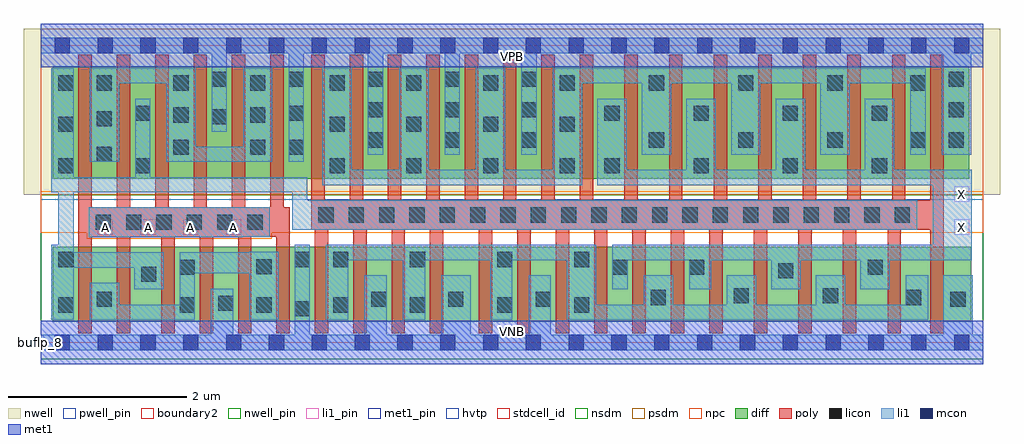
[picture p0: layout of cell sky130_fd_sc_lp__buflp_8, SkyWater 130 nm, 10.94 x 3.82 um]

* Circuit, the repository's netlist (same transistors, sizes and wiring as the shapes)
* Copyright 2020 The SkyWater PDK Authors
*
* Licensed under the Apache License, Version 2.0 (the "License");
* you may not use this file except in compliance with the License.
* You may obtain a copy of the License at
*
*     https://www.apache.org/licenses/LICENSE-2.0
*
* Unless required by applicable law or agreed to in writing, software
* distributed under the License is distributed on an "AS IS" BASIS,
* WITHOUT WARRANTIES OR CONDITIONS OF ANY KIND, either express or implied.
* See the License for the specific language governing permissions and
* limitations under the License.
*
* SPDX-License-Identifier: Apache-2.0

.SUBCKT sky130_fd_sc_lp__buflp_8 A VGND VNB VPB VPWR X
*.PININFO A:I VGND:I VNB:I VPB:I VPWR:I X:O
MMIN1 Ab A net27 VNB sky130_fd_pr__nfet_01v8 m=3 w=0.84U l=0.15U mult=1 sa=0.265
+ sb=0.265 sd=0.28 area=0.063 perim=1.14
MMIN2 X Ab net31 VNB sky130_fd_pr__nfet_01v8 m=8 w=0.84U l=0.15U mult=1 sa=0.265
+ sb=0.265 sd=0.28 area=0.063 perim=1.14
MI7 net27 A VGND VNB sky130_fd_pr__nfet_01v8 m=3 w=0.84U l=0.15U mult=1 sa=0.265
+ sb=0.265 sd=0.28 area=0.063 perim=1.14
MI6 net31 Ab VGND VNB sky130_fd_pr__nfet_01v8 m=8 w=0.84U l=0.15U mult=1 sa=0.265
+ sb=0.265 sd=0.28 area=0.063 perim=1.14
MMIP1 Ab A net43 VPB sky130_fd_pr__pfet_01v8_hvt m=3 w=1.26U l=0.15U mult=1 sa=0.265
+ sb=0.265 sd=0.28 area=0.063 perim=1.14
MMIP2 X Ab net47 VPB sky130_fd_pr__pfet_01v8_hvt m=8 w=1.26U l=0.15U mult=1 sa=0.265
+ sb=0.265 sd=0.28 area=0.063 perim=1.14
MI4 net43 A VPWR VPB sky130_fd_pr__pfet_01v8_hvt m=3 w=1.26U l=0.15U mult=1 sa=0.265
+ sb=0.265 sd=0.28 area=0.063 perim=1.14
MI5 net47 Ab VPWR VPB sky130_fd_pr__pfet_01v8_hvt m=8 w=1.26U l=0.15U mult=1 sa=0.265
+ sb=0.265 sd=0.28 area=0.063 perim=1.14
.ENDS sky130_fd_sc_lp__buflp_8

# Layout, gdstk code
import gdstk
lib = gdstk.Library(unit=1e-6, precision=1e-09)
def R(c, l, rs):  # rectangles x0, y0, x1, y1
    for r in rs: c.add(gdstk.rectangle(r[:2], r[2:], *l))
def A(c, l, x, y, w, h, nx, ny, dx, dy):  # array of equal rectangles
    R(c, l, [(x+i*dx, y+j*dy, x+i*dx+w, y+j*dy+h) for i in range(nx) for j in range(ny)])
def P(c, l, *ps):  # polygons
    for p in ps: c.add(gdstk.Polygon(p, *l))
nwell_pin = (64, 16)
nwell = (64, 20)
diff = (65, 20)
poly = (66, 20)
licon = (66, 44)
li1_pin = (67, 16)
li1 = (67, 20)
mcon = (67, 44)
met1_pin = (68, 16)
met1 = (68, 20)
hvtp = (78, 44)
stdcell_id = (81, 4)
nsdm = (93, 44)
psdm = (94, 20)
npc = (95, 20)
pwell_pin = (122, 16)
boundary2 = (236, 0)

sky130_fd_sc_lp__buflp_8 = lib.new_cell('sky130_fd_sc_lp__buflp_8')
R(sky130_fd_sc_lp__buflp_8, nwell_pin, [(0,3.085,10.56,3.33)])
R(sky130_fd_sc_lp__buflp_8, nwell, [(-0.19,1.655,10.75,3.52)])
R(sky130_fd_sc_lp__buflp_8, diff, [(0.135,0.235,10.425,1.075), (0.135,1.835,10.405,3.095)])
P(sky130_fd_sc_lp__buflp_8, poly, [(2.79,1.515),(2.72,1.515),(2.72,3.225),(2.57,3.225),(2.57,1.515),(2.29,1.515),(2.29,3.225),(2.14,3.225),(2.14,1.515),(1.86,1.515),(1.86,3.225),(1.71,3.225),(1.71,1.515),(1.43,1.515),(1.43,3.225),(1.28,3.225),(1.28,1.515),(1,1.515),(1,3.225),(0.85,3.225),(0.85,1.515),(0.57,1.515),(0.57,3.225),(0.42,3.225),(0.42,0.105),(0.57,0.105),(0.57,1.185),(0.85,1.185),(0.85,0.105),(1,0.105),(1,1.185),(1.35,1.185),(1.35,0.105),(1.5,0.105),(1.5,1.185),(1.78,1.185),(1.78,0.105),(1.93,0.105),(1.93,1.185),(2.21,1.185),(2.21,0.105),(2.36,0.105),(2.36,1.185),(2.64,1.185),(2.64,0.105),(2.79,0.105)],
  [(10.12,3.225),(9.97,3.225),(9.97,1.595),(9.69,1.595),(9.69,3.225),(9.54,3.225),(9.54,1.595),(9.19,1.595),(9.19,3.225),(9.04,3.225),(9.04,1.595),(8.69,1.595),(8.69,3.225),(8.54,3.225),(8.54,1.595),(8.19,1.595),(8.19,3.225),(8.04,3.225),(8.04,1.595),(7.69,1.595),(7.69,3.225),(7.54,3.225),(7.54,1.595),(7.19,1.595),(7.19,3.225),(7.04,3.225),(7.04,1.595),(6.69,1.595),(6.69,3.225),(6.54,3.225),(6.54,1.595),(6.19,1.595),(6.19,3.225),(6.04,3.225),(6.04,1.595),(5.76,1.595),(5.76,3.225),(5.61,3.225),(5.61,1.595),(5.33,1.595),(5.33,3.225),(5.18,3.225),(5.18,1.595),(4.9,1.595),(4.9,3.225),(4.75,3.225),(4.75,1.595),(4.47,1.595),(4.47,3.225),(4.32,3.225),(4.32,1.595),(4.04,1.595),(4.04,3.225),(3.89,3.225),(3.89,1.595),(3.61,1.595),(3.61,3.225),(3.46,3.225),(3.46,1.595),(3.18,1.595),(3.18,3.225),(3.03,3.225),(3.03,1.265),(3.07,1.265),(3.07,0.105),(3.22,0.105),(3.22,1.265),(3.5,1.265),(3.5,0.105),(3.65,0.105),(3.65,1.265),(3.93,1.265),(3.93,0.105),(4.08,0.105),(4.08,1.265),(4.36,1.265),(4.36,0.105),(4.51,0.105),(4.51,1.265),(4.91,1.265),(4.91,0.105),(5.06,0.105),(5.06,1.265),(5.34,1.265),(5.34,0.105),(5.49,0.105),(5.49,1.265),(5.77,1.265),(5.77,0.105),(5.92,0.105),(5.92,1.265),(6.2,1.265),(6.2,0.105),(6.35,0.105),(6.35,1.265),(6.63,1.265),(6.63,0.105),(6.78,0.105),(6.78,1.265),(7.06,1.265),(7.06,0.105),(7.21,0.105),(7.21,1.265),(7.49,1.265),(7.49,0.105),(7.64,0.105),(7.64,1.265),(7.99,1.265),(7.99,0.105),(8.14,0.105),(8.14,1.265),(8.49,1.265),(8.49,0.105),(8.64,0.105),(8.64,1.265),(8.99,1.265),(8.99,0.105),(9.14,0.105),(9.14,1.265),(9.49,1.265),(9.49,0.105),(9.64,0.105),(9.64,1.265),(9.97,1.265),(9.97,0.105),(10.12,0.105)])
A(sky130_fd_sc_lp__buflp_8, licon, 1.555, 0.335, 0.17, 0.17, 4, 1, 0.86, 0)
A(sky130_fd_sc_lp__buflp_8, licon, 0.615, 1.265, 0.17, 0.17, 6, 1, 0.34, 0)
A(sky130_fd_sc_lp__buflp_8, licon, 3.11, 1.345, 0.17, 0.17, 20, 1, 0.34, 0)
A(sky130_fd_sc_lp__buflp_8, licon, 0.195, 1.895, 0.17, 0.17, 1, 3, 0, 0.465)
A(sky130_fd_sc_lp__buflp_8, licon, 3.235, 1.895, 0.17, 0.17, 4, 3, 0.86, 0.465)
A(sky130_fd_sc_lp__buflp_8, licon, 6.315, 1.895, 0.17, 0.17, 4, 2, 1, 0.59)
A(sky130_fd_sc_lp__buflp_8, licon, 2.775, 2.105, 0.17, 0.17, 1, 3, 0, 0.38)
A(sky130_fd_sc_lp__buflp_8, licon, 3.665, 2.185, 0.17, 0.17, 3, 3, 0.86, 0.34)
A(sky130_fd_sc_lp__buflp_8, licon, 6.815, 2.185, 0.17, 0.17, 3, 2, 1, 0.64)
A(sky130_fd_sc_lp__buflp_8, licon, 10.175, 2.185, 0.17, 0.17, 1, 3, 0, 0.34)
A(sky130_fd_sc_lp__buflp_8, licon, 0.625, 2.825, 0.17, 0.17, 3, 1, 0.86, 0)
R(sky130_fd_sc_lp__buflp_8, licon, [(2.845,0.295,3.015,0.465), (0.195,0.335,0.365,0.505), (5.115,0.335,5.285,0.505), (5.975,0.335,6.145,0.505), (1.985,0.355,2.155,0.525), (0.625,0.4,0.795,0.57), (3.705,0.4,3.875,0.57), (4.565,0.4,4.735,0.57), (5.545,0.4,5.715,0.57), (10.195,0.4,10.365,0.57), (6.835,0.42,7.005,0.59), (9.695,0.42,9.865,0.59), (7.765,0.44,7.935,0.61), (8.765,0.44,8.935,0.61), (1.125,0.68,1.295,0.85), (8.265,0.72,8.435,0.89), (1.555,0.76,1.725,0.93), (6.405,0.76,6.575,0.93), (7.265,0.76,7.435,0.93), (9.265,0.76,9.435,0.93), (2.415,0.765,2.585,0.935), (0.195,0.845,0.365,1.015), (2.845,0.845,3.015,1.015), (3.275,0.845,3.445,1.015), (4.135,0.845,4.305,1.015), (5.115,0.845,5.285,1.015), (5.975,0.845,6.145,1.015), (1.055,1.895,1.225,2.065), (0.625,2.025,0.795,2.195), (1.485,2.105,1.655,2.275), (2.345,2.105,2.515,2.275), (9.745,2.185,9.915,2.355), (0.625,2.425,0.795,2.595), (1.915,2.445,2.085,2.615), (1.485,2.465,1.655,2.635), (2.345,2.465,2.515,2.635), (1.055,2.485,1.225,2.655), (9.745,2.825,9.915,2.995), (1.915,2.865,2.085,3.035)])
A(sky130_fd_sc_lp__buflp_8, li1_pin, 0.635, 1.21, 0.17, 0.17, 4, 1, 0.48, 0)
R(sky130_fd_sc_lp__buflp_8, li1_pin, [(10.235,1.21,10.405,1.38), (10.235,1.58,10.405,1.75)])
P(sky130_fd_sc_lp__buflp_8, li1, [(10.095,2.105),(10.095,3.245),(5.555,3.245),(5.555,2.105),(5.385,2.105),(5.385,3.245),(4.695,3.245),(4.695,2.105),(4.525,2.105),(4.525,3.245),(3.835,3.245),(3.835,2.105),(3.665,2.105),(3.665,3.245),(2.945,3.245),(2.945,2.025),(2.775,2.025),(2.775,3.245),(2.085,3.245),(2.085,2.365),(1.915,2.365),(1.915,3.245),(0,3.245),(0,3.415),(10.56,3.415),(10.56,3.245),(10.425,3.245),(10.425,2.105)],
  [(5.465,0.085),(5.465,0.755),(5.715,0.755),(5.715,0.085),(10.115,0.085),(10.115,0.755),(10.445,0.755),(10.445,0.085),(10.56,0.085),(10.56,-0.085),(0,-0.085),(0,0.085),(1.905,0.085),(1.905,0.605),(2.155,0.605),(2.155,0.085),(2.845,0.085),(2.845,1.095),(3.015,1.095),(3.015,0.085),(3.625,0.085),(3.625,0.755),(3.875,0.755),(3.875,0.085),(4.485,0.085),(4.485,0.755),(4.815,0.755),(4.815,0.085)],
  [(9.995,1.765),(6.235,1.765),(6.235,2.735),(6.565,2.735),(6.565,1.935),(7.235,1.935),(7.235,2.735),(7.565,2.735),(7.565,1.935),(8.235,1.935),(8.235,2.735),(8.565,2.735),(8.565,1.935),(9.235,1.935),(9.235,2.735),(9.565,2.735),(9.565,1.935),(10.435,1.935),(10.435,0.925),(9.515,0.925),(9.515,0.595),(9.185,0.595),(9.185,0.925),(8.515,0.925),(8.515,0.595),(8.185,0.595),(8.185,0.925),(7.515,0.925),(7.515,0.595),(7.265,0.595),(7.265,0.925),(6.575,0.925),(6.575,0.595),(6.405,0.595),(6.405,1.095),(9.995,1.095)],
  [(2.815,1.265),(2.815,1.685),(0.365,1.685),(0.365,1.01),(1.375,1.01),(1.375,0.595),(1.045,0.595),(1.045,0.84),(0.365,0.84),(0.365,0.255),(0.115,0.255),(0.115,1.095),(0.195,1.095),(0.195,1.685),(0.115,1.685),(0.115,3.075),(0.365,3.075),(0.365,1.855),(1.055,1.855),(1.055,2.735),(1.225,2.735),(1.225,1.855),(2.985,1.855),(2.985,1.595),(9.82,1.595),(9.82,1.265)],
  [(4.055,0.255),(4.055,0.925),(3.445,0.925),(3.445,0.255),(3.195,0.255),(3.195,1.095),(6.225,1.095),(6.225,0.425),(6.755,0.425),(6.755,0.755),(7.085,0.755),(7.085,0.425),(7.685,0.425),(7.685,0.755),(8.015,0.755),(8.015,0.425),(8.685,0.425),(8.685,0.755),(9.015,0.755),(9.015,0.425),(9.695,0.425),(9.695,0.755),(9.945,0.755),(9.945,0.255),(5.895,0.255),(5.895,0.925),(5.285,0.925),(5.285,0.255),(5.035,0.255),(5.035,0.925),(4.305,0.925),(4.305,0.255)],
  [(2.335,0.255),(2.335,0.775),(1.725,0.775),(1.725,0.255),(0.545,0.255),(0.545,0.67),(0.875,0.67),(0.875,0.425),(1.555,0.425),(1.555,1.01),(2.335,1.01),(2.335,1.015),(2.665,1.015),(2.665,0.255)],
  [(4.015,1.935),(4.015,3.075),(4.345,3.075),(4.345,1.935),(4.875,1.935),(4.875,3.075),(5.205,3.075),(5.205,1.935),(5.735,1.935),(5.735,3.075),(9.915,3.075),(9.915,2.105),(9.745,2.105),(9.745,2.905),(9.065,2.905),(9.065,2.105),(8.735,2.105),(8.735,2.905),(8.065,2.905),(8.065,2.105),(7.735,2.105),(7.735,2.905),(7.065,2.905),(7.065,2.105),(6.735,2.105),(6.735,2.905),(6.065,2.905),(6.065,1.765),(3.155,1.765),(3.155,3.075),(3.485,3.075),(3.485,1.935)],
  [(2.265,2.195),(2.265,3.075),(2.595,3.075),(2.595,2.025),(1.405,2.025),(1.405,2.905),(0.875,2.905),(0.875,2.025),(0.545,2.025),(0.545,3.075),(1.735,3.075),(1.735,2.195)],
  [(2.565,1.515),(0.535,1.515),(0.535,1.18),(2.255,1.18),(2.255,1.185),(2.565,1.185)])
A(sky130_fd_sc_lp__buflp_8, mcon, 0.155, -0.085, 0.17, 0.17, 22, 2, 0.48, 3.33)
R(sky130_fd_sc_lp__buflp_8, met1_pin, [(0,0,10.56,0.245), (0,3.085,10.56,3.33)])
R(sky130_fd_sc_lp__buflp_8, met1, [(0,-0.245,10.56,0.245), (0,3.085,10.56,3.575)])
R(sky130_fd_sc_lp__buflp_8, hvtp, [(0,1.6,10.56,3.33)])
R(sky130_fd_sc_lp__buflp_8, stdcell_id, [(0,0,10.56,3.33)])
R(sky130_fd_sc_lp__buflp_8, nsdm, [(0,-0.19,10.56,1.655)])
R(sky130_fd_sc_lp__buflp_8, psdm, [(0,1.655,10.56,3.52)])
P(sky130_fd_sc_lp__buflp_8, npc, [(10.56,1.695),(0,1.695),(0,1.23),(0.515,1.23),(0.515,1.165),(2.585,1.165),(2.585,1.23),(10.56,1.23)])
R(sky130_fd_sc_lp__buflp_8, pwell_pin, [(0,0,10.56,0.245)])
R(sky130_fd_sc_lp__buflp_8, boundary2, [(0,0,10.56,3.33)])
sky130_fd_sc_lp__buflp_8.add(gdstk.Label('VNB', (5.28,0.123), layer=64, texttype=59))
sky130_fd_sc_lp__buflp_8.add(gdstk.Label('VPB', (5.28,3.208), layer=64, texttype=5))
sky130_fd_sc_lp__buflp_8.add(gdstk.Label('buflp_8', (0,0), layer=83, texttype=44))
sky130_fd_sc_lp__buflp_8.add(gdstk.Label('VPWR', (5.28,3.208), layer=68, texttype=5))
sky130_fd_sc_lp__buflp_8.add(gdstk.Label('VGND', (5.28,0.123), layer=68, texttype=5))
sky130_fd_sc_lp__buflp_8.add(gdstk.Label('A', (1.68,1.295), layer=67, texttype=5))
sky130_fd_sc_lp__buflp_8.add(gdstk.Label('X', (10.32,1.295), layer=67, texttype=5))
sky130_fd_sc_lp__buflp_8.add(gdstk.Label('X', (10.32,1.665), layer=67, texttype=5))
sky130_fd_sc_lp__buflp_8.add(gdstk.Label('A', (2.16,1.295), layer=67, texttype=5))
sky130_fd_sc_lp__buflp_8.add(gdstk.Label('A', (0.72,1.295), layer=67, texttype=5))
sky130_fd_sc_lp__buflp_8.add(gdstk.Label('A', (1.2,1.295), layer=67, texttype=5))

lib.write_gds('sky130_fd_sc_lp__buflp_8.gds')
